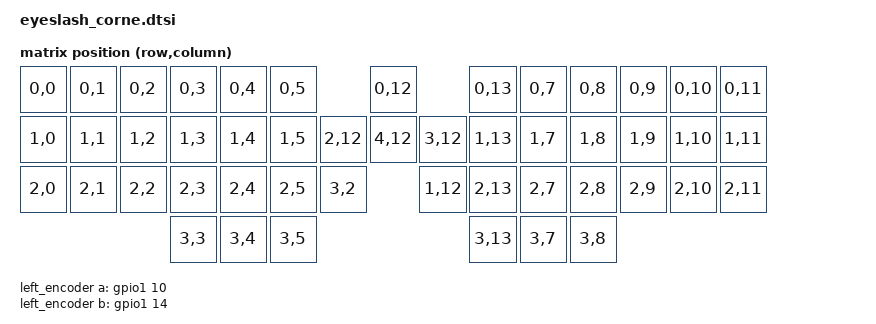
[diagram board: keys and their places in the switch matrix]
/*
*
* Copyright (c) 2021 Darryl deHaan
* SPDX-License-Identifier: MIT
*
*/

#include <dt-bindings/zmk/matrix_transform.h>
#include "eyeslash_corne-layouts.dtsi"

/ {

    chosen {
        zmk,kscan = &kscan0;
        zmk,battery = &vbatt;
        zmk,physical-layout = &eyeslash_corne_layout;

    };

	left_encoder: encoder_left {
		compatible = "alps,ec11";
		label = "LEFT_ENCODER";
		resolution = <4>;
        steps = <40>;
        a-gpios = <&gpio1 10 (GPIO_ACTIVE_HIGH | GPIO_PULL_UP)>;
	    b-gpios = <&gpio1 14 (GPIO_ACTIVE_HIGH | GPIO_PULL_UP)>;
		status = "disabled";
	};

    sensors {
		compatible = "zmk,keymap-sensors";
		sensors = <&left_encoder>;
	};

    kscan0: kscan {
        wakeup-source;
        diode-direction = "col2row";
    };
    
    EXT_POWER {
        compatible = "zmk,ext-power-generic";
        control-gpios = <&gpio0 13 GPIO_ACTIVE_HIGH>;
        init-delay-ms = <50>;
    };

    vbatt: vbatt {
        compatible = "zmk,battery-nrf-vddh";
    };

    default_transform: keymap_transform_0 {
        compatible = "zmk,matrix-transform";
        columns = <14>;
        rows = <5>;
                    map = <
            RC(0,0) RC(0,1) RC(0,2) RC(0,3) RC(0,4) RC(0,5)                      RC(0,12)           RC(0,13) RC(0,7) RC(0,8) RC(0,9) RC(0,10) RC(0,11)
            RC(1,0) RC(1,1) RC(1,2) RC(1,3) RC(1,4) RC(1,5)             RC(2,12) RC(4,12) RC(3,12)  RC(1,13) RC(1,7) RC(1,8) RC(1,9) RC(1,10) RC(1,11)
            RC(2,0) RC(2,1) RC(2,2) RC(2,3) RC(2,4) RC(2,5) RC(3,2)              RC(1,12)           RC(2,13) RC(2,7) RC(2,8) RC(2,9) RC(2,10) RC(2,11)
                                    RC(3,3) RC(3,4) RC(3,5)                                         RC(3,13) RC(3,7) RC(3,8)
        >;
    };
};


zephyr_udc0: &usbd {
    compatible = "nordic,nrf-usbd";
    status = "okay";
};

